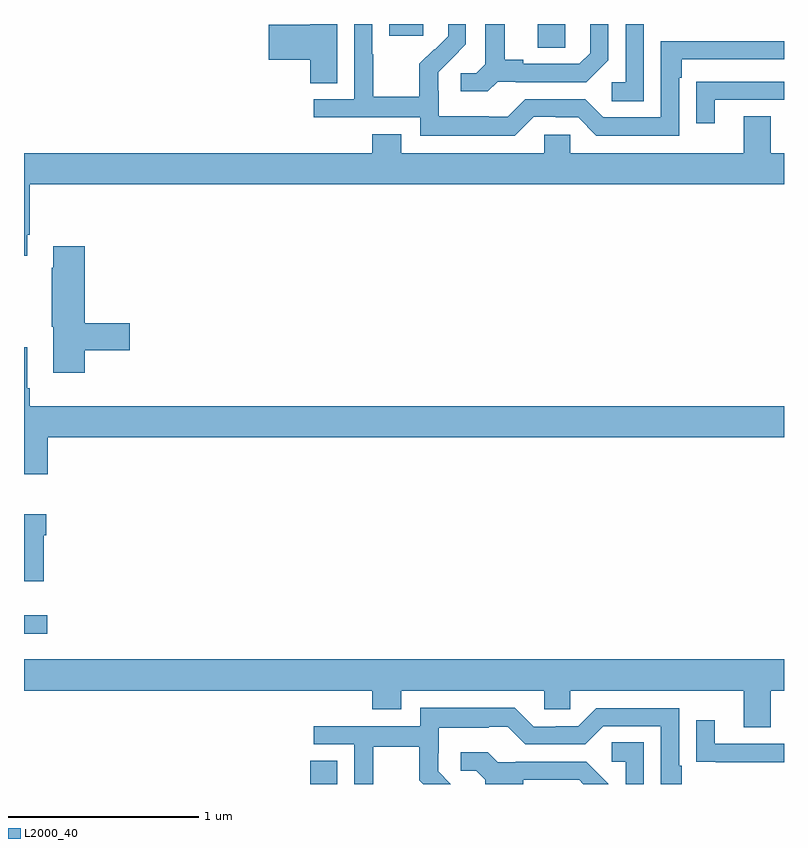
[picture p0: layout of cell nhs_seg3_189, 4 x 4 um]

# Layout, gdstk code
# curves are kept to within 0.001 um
import gdstk
lib = gdstk.Library(unit=1e-6, precision=1e-09)
def R(c, l, rs):  # rectangles x0, y0, x1, y1
    for r in rs: c.add(gdstk.rectangle(r[:2], r[2:], *l))
def P(c, l, *ps):  # polygons
    for p in ps: c.add(gdstk.Polygon(p, *l))
L2000_40 = (2000, 40)

nhs_seg3_189 = lib.new_cell('nhs_seg3_189')
R(nhs_seg3_189, L2000_40, [(120.506,724.4,120.649,724.523), (119,725.192,119.122,725.289), (121.703,728.275,121.848,728.4), (120.923,728.337,121.102,728.4)])
P(nhs_seg3_189, L2000_40, [(120.649,728.4),(120.506,728.4),(120.506,728.396),(120.288,728.396),(120.288,728.213),(120.506,728.213),(120.506,728.089),(120.649,728.089)],
  [(121.494,728.097),(121.588,728.097),(121.588,728.094),(121.96,728.094),(122.076,728.21),(122.076,728.4),(121.979,728.4),(121.979,728.247),(121.922,728.19),(121.627,728.19),(121.627,728.213),(121.531,728.213),(121.531,728.4),(121.427,728.4),(121.427,728.189),(121.38,728.142),(121.299,728.142),(121.299,728.045),(121.442,728.045)],
  [(122.262,728.4),(122.166,728.4),(122.166,728.094),(122.094,728.094),(122.094,727.993),(122.262,727.993)],
  [(121.683,727.911),(121.799,727.911),(121.799,727.908),(121.917,727.908),(122.013,727.812),(122.448,727.812),(122.448,728.117),(122.461,728.117),(122.461,728.214),(123,728.214),(123,728.31),(122.352,728.31),(122.352,727.908),(122.049,727.908),(121.953,728.004),(121.638,728.004),(121.545,727.911),(121.445,727.911),(121.445,727.915),(121.182,727.915),(121.182,728.049),(121.18,728.049),(121.18,728.146),(121.326,728.294),(121.326,728.4),(121.232,728.4),(121.232,728.336),(121.161,728.265),(121.158,728.268),(121.081,728.191),(121.081,728.017),(120.837,728.017),(120.837,728.24),(120.834,728.24),(120.834,728.4),(120.738,728.4),(120.738,728.004),(120.525,728.004),(120.525,727.908),(121.086,727.908),(121.086,727.811),(121.583,727.811)],
  [(122.635,728.001),(123,728.001),(123,728.097),(122.641,728.097),(122.641,728.096),(122.539,728.096),(122.539,727.878),(122.635,727.878)],
  [(119.017,727.291),(119.03,727.291),(119.03,727.556),(123,727.556),(123,727.72),(122.929,727.72),(122.929,727.915),(122.789,727.915),(122.789,727.72),(121.875,727.72),(121.875,727.818),(121.737,727.818),(121.737,727.72),(120.985,727.72),(120.985,727.819),(120.833,727.819),(120.833,727.72),(119,727.72),(119,727.179),(119.017,727.179)],
  [(119.321,726.682),(119.557,726.682),(119.557,726.824),(119.321,726.824),(119.321,727.231),(119.153,727.231),(119.153,727.118),(119.146,727.118),(119.146,726.807),(119.153,726.807),(119.153,726.564),(119.321,726.564)],
  [(119.126,726.224),(123,726.224),(123,726.388),(119.03,726.388),(119.03,726.484),(119.017,726.484),(119.017,726.7),(119,726.7),(119,726.03),(119.126,726.03)],
  [(119.104,725.708),(119.117,725.708),(119.117,725.821),(119,725.821),(119,725.468),(119.104,725.468)],
  [(122.929,724.892),(123,724.892),(123,725.056),(119,725.056),(119,724.892),(120.833,724.892),(120.833,724.793),(120.985,724.793),(120.985,724.892),(121.737,724.892),(121.737,724.794),(121.875,724.794),(121.875,724.892),(122.789,724.892),(122.789,724.698),(122.929,724.698)],
  [(120.837,724.596),(121.081,724.596),(121.081,724.421),(121.102,724.4),(121.246,724.4),(121.18,724.466),(121.18,724.563),(121.182,724.563),(121.182,724.697),(121.445,724.697),(121.445,724.701),(121.545,724.701),(121.638,724.608),(121.953,724.608),(122.049,724.704),(122.352,724.704),(122.352,724.4),(122.461,724.4),(122.461,724.495),(122.448,724.495),(122.448,724.8),(122.013,724.8),(121.917,724.704),(121.799,724.704),(121.799,724.701),(121.683,724.701),(121.583,724.801),(121.086,724.801),(121.086,724.704),(120.525,724.704),(120.525,724.608),(120.738,724.608),(120.738,724.4),(120.837,724.4)],
  [(123,724.611),(122.635,724.611),(122.635,724.735),(122.539,724.735),(122.539,724.516),(122.641,724.516),(122.641,724.515),(123,724.515)],
  [(122.262,724.619),(122.094,724.619),(122.094,724.518),(122.166,724.518),(122.166,724.4),(122.262,724.4)],
  [(121.627,724.422),(121.922,724.422),(121.944,724.4),(122.076,724.4),(122.076,724.402),(121.96,724.518),(121.588,724.518),(121.588,724.515),(121.494,724.515),(121.442,724.567),(121.299,724.567),(121.299,724.47),(121.38,724.47),(121.427,724.423),(121.427,724.4),(121.627,724.4)])

lib.write_gds('nhs_seg3_189.gds')
